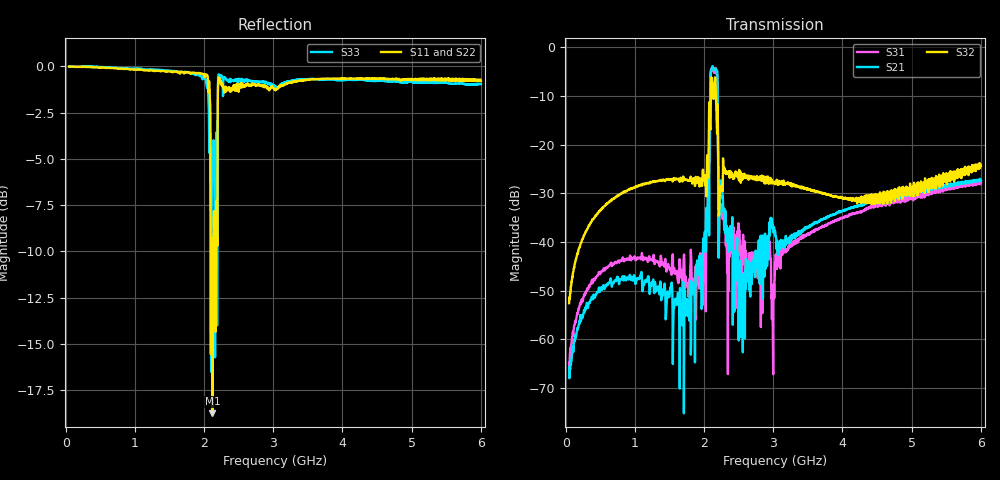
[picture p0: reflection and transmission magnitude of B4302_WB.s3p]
! Matrix data file written by TouchstoneData, EPCOS AG
! FILENAME: "newformat_LY82C_01_WB.s3p"
! COMMENT: "(LY82C_01_WB.s3p) Epcos AG 10/11/2011 5:08:5"
! INFO: nport=3, nfreq=1601
! DATE: "Wed Oct 12 11:08:37 2011"
! USER: "WeiLong Lin"
! port | pin | signal
!  1  |  1  |  in
!  2  |  2  |  out
!  3  |  4  |  out
# MHZ S MA R 50
! freq  magS11 angS11  magS12 angS12  magS13 angS13  ...
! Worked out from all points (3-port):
!   1601 points, 50 MHz to 6 GHz, reference 50 ohm
!   strongest paths, dB at 50 MHz, 1.538 GHz, 3.025 GHz, 4.513 GHz, 6 GHz:
!     S32: -52.6, -27.2, -28.1, -30.3, -24.3
!     S21: -65.8, -49.4, -37.7, -31.1, -27.4
!     S31: -64.9, -43.8, -44.1, -32.8, -27.7
!   lowest |S11| = -18.7 dB at 2.121 GHz (marker M1), VSWR 1.26, Z = 56.1 + j10.7 ohm
!   |S11| at or under -10 dB: 2.094593 GHz to 2.104407 GHz (9.814 MHz wide, 0.467 % of centre); 2.11 GHz to 2.133 GHz (22.9 MHz wide, 1.08 % of centre); 2.157 GHz to 2.174 GHz (16.88 MHz wide, 0.78 % of centre)
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50  0.9972 -3.7  0.0004159 73.5  0.0005438 86.3
    0.0005156 70.1  0.9995 -2.2  0.00228 81.3
    0.0005694 83.7  0.002345 82.6  0.9986 -2.3
633.8438  0.99 -44.0  0.003853 61.0  0.005718 58.1
          0.003868 61.0  0.9923 -26.7  0.0258 65.2
          0.005721 58.0  0.02585 65.2  0.9929 -27.0
1838.719  0.9612 -112.5  0.003904 124.1  0.00392 56.1
          0.003715 124.3  0.9511 -77.0  0.04321 38.6
          0.003863 55.8  0.04318 38.5  0.9534 -77.3
2002.344  0.9347 -133.2  0.0107 121.5  0.01074 98.6
          0.01024 121.4  0.9257 -93.5  0.04309 42.5
          0.01054 98.7  0.04296 42.6  0.9311 -93.0
2121.344  0.1156 54.6  0.6413 -112.7  0.6215 66.7
          0.6412 -112.6  0.4997 -60.9  0.3848 -49.5
          0.6209 66.6  0.3837 -49.5  0.5442 -61.5
2169.688  0.2332 56.1  0.6054 95.3  0.6043 -80.8
          0.6054 95.3  0.5332 -17.3  0.3435 16.7
          0.6034 -80.8  0.3432 16.7  0.5321 -11.5
2236.625  0.9057 -77.7  0.04117 46.8  0.02361 -147.3
          0.04117 46.8  0.9363 -53.2  0.03402 56.9
          0.02322 -147.0  0.03389 56.9  0.9451 -53.9
2530.406  0.8993 -111.1  0.002095 145.6  0.008701 120.8
          0.002122 145.6  0.9128 -80.2  0.04067 25.9
          0.008689 120.7  0.04062 25.8  0.9202 -80.2
3025  0.8649 -124.7  0.01298 101.1  0.006231 164.4
      0.01297 101.1  0.8767 -94.3  0.03914 19.6
      0.006216 164.5  0.03914 19.8  0.8848 -94.1
6000  0.9125 -170.5  0.04275 93.1  0.0411 92.4
      0.04276 93.1  0.8813 -148.4  0.06075 82.6
      0.04108 92.5  0.06069 82.8  0.895 -145.9
